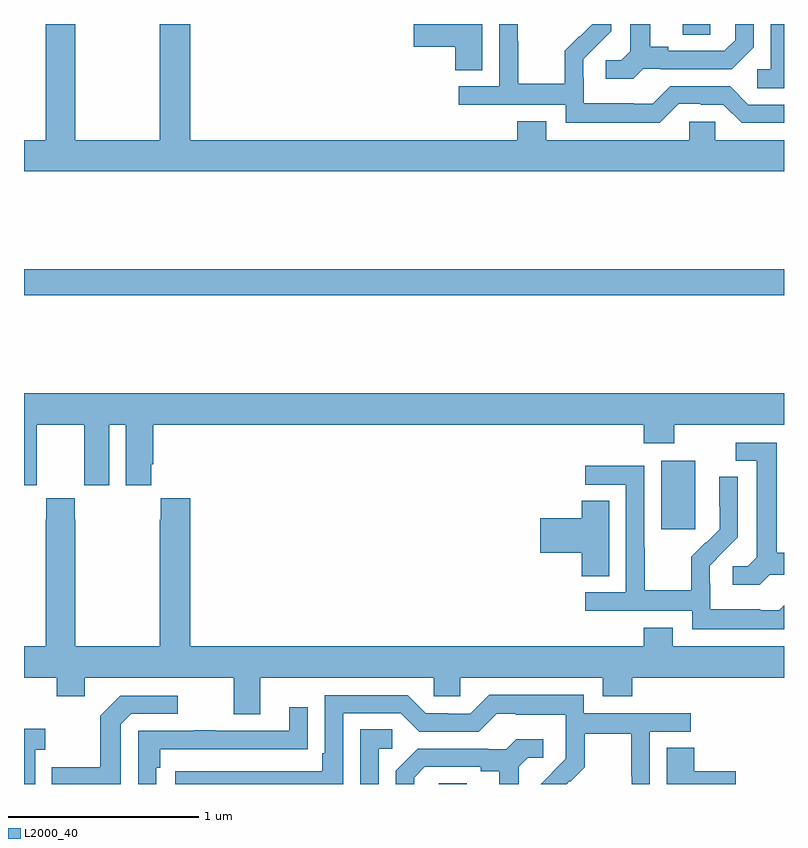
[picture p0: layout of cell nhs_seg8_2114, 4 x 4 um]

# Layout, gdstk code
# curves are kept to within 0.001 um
import gdstk
lib = gdstk.Library(unit=1e-6, precision=1e-09)
def R(c, l, rs):  # rectangles x0, y0, x1, y1
    for r in rs: c.add(gdstk.rectangle(r[:2], r[2:], *l))
def P(c, l, *ps):  # polygons
    for p in ps: c.add(gdstk.Polygon(p, *l))
L2000_40 = (2000, 40)

nhs_seg8_2114 = lib.new_cell('nhs_seg8_2114')
R(nhs_seg8_2114, L2000_40, [(245.184,1155.9,245.329,1155.905), (246.353,1157.241,246.532,1157.602), (243,1158.472,247,1158.608), (246.467,1159.843,246.612,1159.9)])
P(nhs_seg8_2114, L2000_40, [(246.447,1159.479),(246.563,1159.479),(246.563,1159.476),(246.681,1159.476),(246.777,1159.38),(247,1159.38),(247,1159.476),(246.813,1159.476),(246.717,1159.572),(246.402,1159.572),(246.309,1159.479),(246.209,1159.479),(246.209,1159.483),(245.946,1159.483),(245.946,1159.617),(245.944,1159.617),(245.944,1159.714),(246.09,1159.862),(246.09,1159.9),(245.992,1159.9),(245.925,1159.833),(245.922,1159.836),(245.845,1159.759),(245.845,1159.585),(245.601,1159.585),(245.601,1159.808),(245.598,1159.808),(245.598,1159.9),(245.502,1159.9),(245.502,1159.572),(245.289,1159.572),(245.289,1159.476),(245.85,1159.476),(245.85,1159.379),(246.347,1159.379)],
  [(245.413,1159.9),(245.052,1159.9),(245.052,1159.781),(245.27,1159.781),(245.27,1159.657),(245.413,1159.657)],
  [(247,1159.9),(246.93,1159.9),(246.93,1159.662),(246.858,1159.662),(246.858,1159.561),(247,1159.561)],
  [(246.258,1159.665),(246.352,1159.665),(246.352,1159.662),(246.724,1159.662),(246.84,1159.778),(246.84,1159.9),(246.743,1159.9),(246.743,1159.815),(246.686,1159.758),(246.391,1159.758),(246.391,1159.781),(246.295,1159.781),(246.295,1159.9),(246.191,1159.9),(246.191,1159.757),(246.144,1159.71),(246.063,1159.71),(246.063,1159.613),(246.206,1159.613)],
  [(247,1159.288),(246.639,1159.288),(246.639,1159.386),(246.501,1159.386),(246.501,1159.288),(245.749,1159.288),(245.749,1159.387),(245.597,1159.387),(245.597,1159.288),(243.875,1159.288),(243.875,1159.9),(243.715,1159.9),(243.715,1159.288),(243.27,1159.288),(243.27,1159.9),(243.115,1159.9),(243.115,1159.288),(243,1159.288),(243,1159.124),(247,1159.124)],
  [(243.066,1157.584),(243.067,1157.584),(243.067,1157.792),(243.317,1157.792),(243.317,1157.584),(243.318,1157.584),(243.318,1157.472),(243.448,1157.472),(243.448,1157.792),(243.536,1157.792),(243.536,1157.472),(243.67,1157.472),(243.67,1157.584),(243.68,1157.584),(243.68,1157.792),(246.263,1157.792),(246.263,1157.693),(246.423,1157.693),(246.423,1157.792),(247,1157.792),(247,1157.956),(243,1157.956),(243,1157.472),(243.066,1157.472)],
  [(246.924,1157.001),(247,1157.001),(247,1157.117),(246.961,1157.117),(246.961,1157.697),(246.747,1157.697),(246.747,1157.601),(246.857,1157.601),(246.857,1157.093),(246.81,1157.046),(246.729,1157.046),(246.729,1156.949),(246.872,1156.949)],
  [(247,1156.84),(246.975,1156.815),(246.875,1156.815),(246.875,1156.819),(246.612,1156.819),(246.612,1156.953),(246.61,1156.953),(246.61,1157.05),(246.756,1157.198),(246.756,1157.516),(246.66,1157.516),(246.66,1157.362),(246.662,1157.362),(246.662,1157.24),(246.591,1157.169),(246.588,1157.172),(246.511,1157.095),(246.511,1156.921),(246.267,1156.921),(246.267,1157.144),(246.264,1157.144),(246.264,1157.574),(245.955,1157.574),(245.955,1157.475),(246.168,1157.475),(246.168,1156.908),(245.955,1156.908),(245.955,1156.812),(246.516,1156.812),(246.516,1156.715),(247,1156.715)],
  [(244.243,1156.46),(245.157,1156.46),(245.157,1156.362),(245.295,1156.362),(245.295,1156.46),(246.047,1156.46),(246.047,1156.361),(246.2,1156.361),(246.2,1156.46),(247,1156.46),(247,1156.624),(246.415,1156.624),(246.415,1156.723),(246.263,1156.723),(246.263,1156.624),(243.875,1156.624),(243.875,1157.404),(243.721,1157.404),(243.721,1157.291),(243.715,1157.291),(243.715,1156.624),(243.27,1156.624),(243.27,1157.291),(243.267,1157.291),(243.267,1157.404),(243.117,1157.404),(243.117,1157.291),(243.115,1157.291),(243.115,1156.624),(243,1156.624),(243,1156.46),(243.172,1156.46),(243.172,1156.361),(243.319,1156.361),(243.319,1156.46),(244.103,1156.46),(244.103,1156.266),(244.243,1156.266)],
  [(246.079,1157.39),(245.936,1157.39),(245.936,1157.3),(245.718,1157.3),(245.718,1157.117),(245.936,1157.117),(245.936,1156.993),(246.079,1156.993)],
  [(244.68,1156.272),(244.983,1156.272),(245.079,1156.176),(245.394,1156.176),(245.487,1156.269),(245.587,1156.269),(245.587,1156.265),(245.85,1156.265),(245.85,1156.131),(245.852,1156.131),(245.852,1156.034),(245.72,1155.9),(245.856,1155.9),(245.871,1155.915),(245.874,1155.912),(245.951,1155.989),(245.951,1156.164),(246.196,1156.164),(246.196,1155.94),(246.198,1155.94),(246.198,1155.9),(246.294,1155.9),(246.294,1156.176),(246.508,1156.176),(246.508,1156.272),(245.946,1156.272),(245.946,1156.369),(245.449,1156.369),(245.349,1156.269),(245.234,1156.269),(245.234,1156.272),(245.115,1156.272),(245.019,1156.368),(244.584,1156.368),(244.584,1156.063),(244.571,1156.063),(244.571,1155.966),(243.795,1155.966),(243.795,1155.9),(244.68,1155.9)],
  [(243.51,1156.215),(243.564,1156.269),(243.808,1156.269),(243.808,1156.365),(243.507,1156.365),(243.402,1156.259),(243.402,1155.987),(243.145,1155.987),(243.145,1155.9),(243.51,1155.9)],
  [(243.696,1155.986),(243.716,1155.986),(243.716,1156.083),(244.391,1156.083),(244.391,1156.084),(244.493,1156.084),(244.493,1156.303),(244.397,1156.303),(244.397,1156.179),(244.007,1156.179),(244.007,1156.184),(243.895,1156.184),(243.895,1156.179),(243.6,1156.179),(243.6,1155.9),(243.696,1155.9)],
  [(243.06,1156.079),(243.112,1156.079),(243.112,1156.192),(243,1156.192),(243,1155.9),(243.06,1155.9)],
  [(244.866,1156.086),(244.939,1156.086),(244.939,1156.187),(244.77,1156.187),(244.77,1155.9),(244.866,1155.9)],
  [(245.053,1155.933),(245.11,1155.99),(245.405,1155.99),(245.405,1155.968),(245.501,1155.968),(245.501,1155.9),(245.605,1155.9),(245.605,1155.991),(245.652,1156.038),(245.734,1156.038),(245.734,1156.135),(245.59,1156.135),(245.538,1156.083),(245.444,1156.083),(245.444,1156.086),(245.072,1156.086),(244.956,1155.97),(244.956,1155.9),(245.053,1155.9)],
  [(246.745,1155.968),(246.527,1155.968),(246.527,1156.091),(246.383,1156.091),(246.383,1155.9),(246.745,1155.9)])

lib.write_gds('nhs_seg8_2114.gds')
